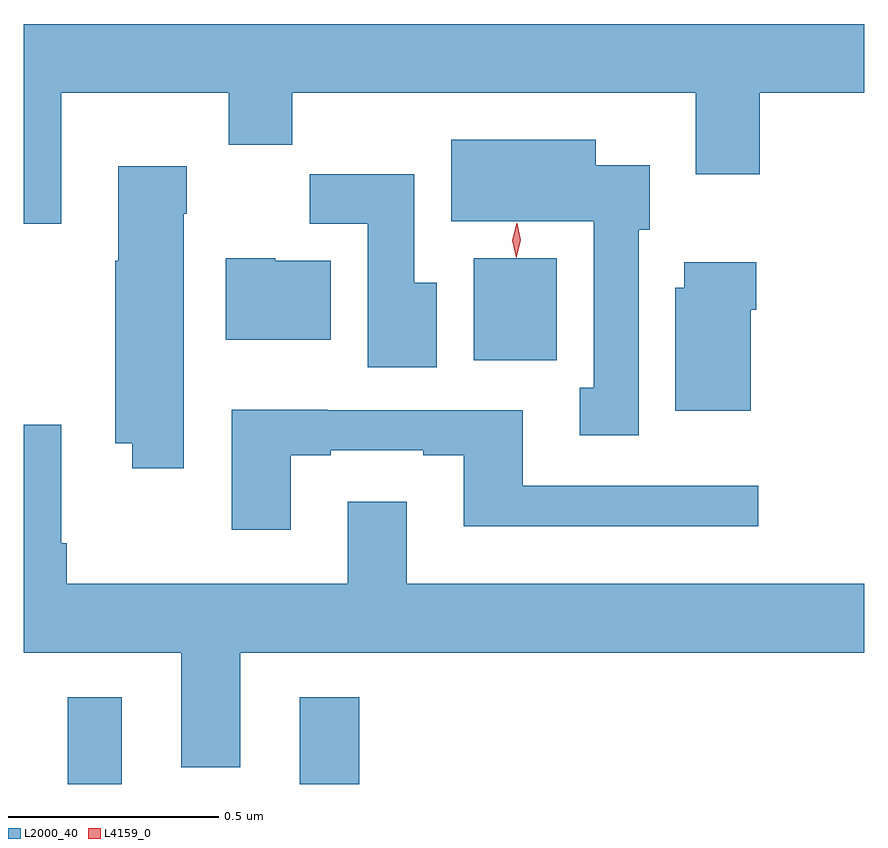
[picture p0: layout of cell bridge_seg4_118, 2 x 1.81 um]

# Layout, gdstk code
import gdstk
lib = gdstk.Library(unit=1e-6, precision=1e-09)
def R(c, l, rs):  # rectangles x0, y0, x1, y1
    for r in rs: c.add(gdstk.rectangle(r[:2], r[2:], *l))
def P(c, l, *ps):  # polygons
    for p in ps: c.add(gdstk.Polygon(p, *l))
L2000_40 = (2000, 40)
L4159_0 = (4159, 0)

bridge_seg4_118 = lib.new_cell('bridge_seg4_118')
R(bridge_seg4_118, L2000_40, [(270.215,780.523,270.343,780.73), (270.767,780.523,270.908,780.73), (271.181,781.532,271.378,781.774)])
P(bridge_seg4_118, L2000_40, [(270.199,782.168),(270.598,782.168),(270.598,782.044),(270.749,782.044),(270.749,782.168),(271.709,782.168),(271.709,781.974),(271.862,781.974),(271.862,782.168),(272.11,782.168),(272.11,782.332),(270.11,782.332),(270.11,781.857),(270.199,781.857)],
  [(271.573,781.842),(271.6,781.842),(271.6,781.996),(271.471,781.996),(271.471,782.056),(271.127,782.056),(271.127,781.862),(271.466,781.862),(271.466,781.466),(271.433,781.466),(271.433,781.353),(271.573,781.353)],
  [(270.49,781.88),(270.498,781.88),(270.498,781.993),(270.335,781.993),(270.335,781.769),(270.328,781.769),(270.328,781.334),(270.368,781.334),(270.368,781.275),(270.49,781.275)],
  [(271.093,781.716),(271.039,781.716),(271.039,781.974),(270.79,781.974),(270.79,781.856),(270.929,781.856),(270.929,781.515),(271.093,781.515)],
  [(270.841,781.768),(270.708,781.768),(270.708,781.774),(270.59,781.774),(270.59,781.58),(270.841,781.58)],
  [(271.84,781.652),(271.853,781.652),(271.853,781.765),(271.682,781.765),(271.682,781.704),(271.661,781.704),(271.661,781.412),(271.84,781.412)],
  [(270.745,781.305),(270.841,781.305),(270.841,781.317),(271.061,781.317),(271.061,781.305),(271.157,781.305),(271.157,781.136),(271.858,781.136),(271.858,781.233),(271.297,781.233),(271.297,781.413),(270.833,781.413),(270.833,781.414),(270.605,781.414),(270.605,781.128),(270.745,781.128)],
  [(270.625,780.836),(272.11,780.836),(272.11,781),(271.021,781),(271.021,781.195),(270.881,781.195),(270.881,781),(270.212,781),(270.212,781.096),(270.199,781.096),(270.199,781.378),(270.11,781.378),(270.11,780.836),(270.485,780.836),(270.485,780.563),(270.625,780.563)])
P(bridge_seg4_118, L4159_0, [(271.282,781.776),(271.282,781.776),(271.273,781.817),(271.283,781.858),(271.283,781.858),(271.284,781.858),(271.293,781.817),(271.282,781.776)])

lib.write_gds('bridge_seg4_118.gds')
